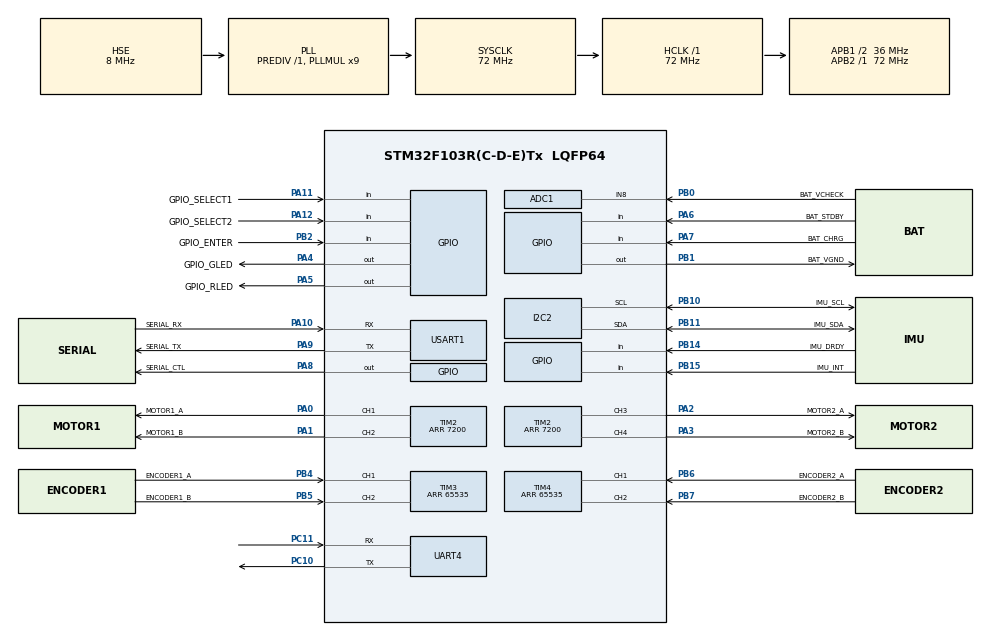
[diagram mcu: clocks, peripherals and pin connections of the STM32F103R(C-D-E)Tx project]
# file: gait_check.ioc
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ADC1.Channel-0\#ChannelRegularConversion=ADC_CHANNEL_8
ADC1.ContinuousConvMode=DISABLE
ADC1.DataAlign=ADC_DATAALIGN_LEFT
ADC1.DiscontinuousConvMode=DISABLE
ADC1.EnableAnalogWatchDog=false
ADC1.EnableRegularConversion=ENABLE
ADC1.ExternalTrigConvEdgeChoice=NONE
ADC1.InjNumberOfConversion=0
ADC1.NbrOfConversion=1
ADC1.NbrOfConversionFlag=1
ADC1.Rank-0\#ChannelRegularConversion=1
ADC1.SamplingTime-0\#ChannelRegularConversion=ADC_SAMPLETIME_239CYCLES_5
ADC1.ScanConvMode=ADC_SCAN_DISABLE
ADC1.master=1
Dma.MEMTOMEM.2.Direction=DMA_MEMORY_TO_MEMORY
Dma.MEMTOMEM.2.Instance=DMA1_Channel1
Dma.MEMTOMEM.2.MemDataAlignment=DMA_MDATAALIGN_BYTE
Dma.MEMTOMEM.2.MemInc=DMA_MINC_ENABLE
Dma.MEMTOMEM.2.Mode=DMA_NORMAL
Dma.MEMTOMEM.2.PeriphDataAlignment=DMA_PDATAALIGN_BYTE
Dma.MEMTOMEM.2.PeriphInc=DMA_PINC_ENABLE
Dma.MEMTOMEM.2.Priority=DMA_PRIORITY_LOW
Dma.Request0=USART1_RX
Dma.Request1=USART1_TX
Dma.Request2=MEMTOMEM
Dma.USART1_RX.0.Direction=DMA_PERIPH_TO_MEMORY
Dma.USART1_RX.0.Instance=DMA1_Channel5
Dma.USART1_RX.0.MemDataAlignment=DMA_MDATAALIGN_BYTE
Dma.USART1_RX.0.MemInc=DMA_MINC_ENABLE
Dma.USART1_RX.0.Mode=DMA_NORMAL
Dma.USART1_RX.0.PeriphDataAlignment=DMA_PDATAALIGN_BYTE
Dma.USART1_RX.0.PeriphInc=DMA_PINC_DISABLE
Dma.USART1_RX.0.Priority=DMA_PRIORITY_HIGH
Dma.USART1_TX.1.Direction=DMA_MEMORY_TO_PERIPH
Dma.USART1_TX.1.Instance=DMA1_Channel4
Dma.USART1_TX.1.MemDataAlignment=DMA_MDATAALIGN_BYTE
Dma.USART1_TX.1.MemInc=DMA_MINC_ENABLE
Dma.USART1_TX.1.Mode=DMA_NORMAL
Dma.USART1_TX.1.PeriphDataAlignment=DMA_PDATAALIGN_BYTE
Dma.USART1_TX.1.PeriphInc=DMA_PINC_DISABLE
Dma.USART1_TX.1.Priority=DMA_PRIORITY_MEDIUM
Mcu.Family=STM32F1
Mcu.Name=STM32F103R(C-D-E)Tx
Mcu.Package=LQFP64
NVIC.DMA1_Channel4_IRQn=true\:0\:0\:false\:false\:true
NVIC.DMA1_Channel5_IRQn=true\:0\:0\:false\:false\:true
NVIC.PriorityGroup=NVIC_PRIORITYGROUP_4
PA0-WKUP.GPIO_Label=MOTOR1_A
PA0-WKUP.Signal=S_TIM2_CH1_ETR
PA1.GPIO_Label=MOTOR1_B
PA1.Signal=S_TIM2_CH2
PA10.GPIO_Label=SERIAL_RX
PA10.Mode=Asynchronous
PA10.Signal=USART1_RX
PA11.GPIO_Label=GPIO_SELECT1
PA11.Signal=GPIO_Input
PA12.GPIO_Label=GPIO_SELECT2
PA12.Signal=GPIO_Input
PA13.Mode=JTAG_4_pins
PA13.Signal=SYS_JTMS-SWDIO
PA14.Mode=JTAG_4_pins
PA14.Signal=SYS_JTCK-SWCLK
PA15.Mode=JTAG_4_pins
PA15.Signal=SYS_JTDI
PA2.GPIO_Label=MOTOR2_A
PA2.Signal=S_TIM2_CH3
PA3.GPIO_Label=MOTOR2_B
PA3.Signal=S_TIM2_CH4
PA4.GPIO_Label=GPIO_GLED
PA4.PinState=GPIO_PIN_SET
PA4.Signal=GPIO_Output
PA5.GPIO_Label=GPIO_RLED
PA5.Signal=GPIO_Output
PA6.GPIO_Label=BAT_STDBY
PA6.Signal=GPIO_Input
PA7.GPIO_Label=BAT_CHRG
PA7.Signal=GPIO_Input
PA8.GPIO_Label=SERIAL_CTL
PA8.PinState=GPIO_PIN_SET
PA8.Signal=GPIO_Output
PA9.GPIO_Label=SERIAL_TX
PA9.Mode=Asynchronous
PA9.Signal=USART1_TX
PB0.GPIO_Label=BAT_VCHECK
PB0.Signal=ADCx_IN8
PB1.GPIO_Label=BAT_VGND
PB1.GPIO_ModeDefaultOutputPP=GPIO_MODE_OUTPUT_OD
PB1.Signal=GPIO_Output
PB10.GPIO_Label=IMU_SCL
PB10.Mode=I2C
PB10.Signal=I2C2_SCL
PB11.GPIO_Label=IMU_SDA
PB11.Mode=I2C
PB11.Signal=I2C2_SDA
PB14.GPIO_Label=IMU_DRDY
PB14.Signal=GPIO_Input
PB15.GPIO_Label=IMU_INT
PB15.Signal=GPIO_Input
PB2.GPIO_Label=GPIO_ENTER
PB2.Signal=GPIO_Input
PB3.Mode=JTAG_4_pins
PB3.Signal=SYS_JTDO-TRACESWO
PB4.GPIO_Label=ENCODER1_A
PB4.Signal=S_TIM3_CH1
PB5.GPIO_Label=ENCODER1_B
PB5.Signal=S_TIM3_CH2
PB6.GPIO_Label=ENCODER2_A
PB6.Signal=S_TIM4_CH1
PB7.GPIO_Label=ENCODER2_B
PB7.Signal=S_TIM4_CH2
PC10.Mode=Asynchronous
PC10.Signal=UART4_TX
PC11.Mode=Asynchronous
PC11.Signal=UART4_RX
PD0-OSC_IN.Mode=HSE-External-Oscillator
PD0-OSC_IN.Signal=RCC_OSC_IN
PD1-OSC_OUT.Mode=HSE-External-Oscillator
PD1-OSC_OUT.Signal=RCC_OSC_OUT
ProjectManager.HeapSize=0x200
ProjectManager.StackSize=0x1000
ProjectManager.TargetToolchain=MDK-ARM V5
RCC.ADCPresc=RCC_ADCPCLK2_DIV8
RCC.AHBFreq_Value=72000000
RCC.APB1CLKDivider=RCC_HCLK_DIV2
RCC.APB1Freq_Value=36000000
RCC.APB1TimFreq_Value=72000000
RCC.APB2Freq_Value=72000000
RCC.APB2TimFreq_Value=72000000
RCC.HCLKFreq_Value=72000000
RCC.HSIState=RCC_HSI_ON
RCC.PLLMUL=RCC_PLL_MUL9
RCC.PLLSourceVirtual=RCC_PLLSOURCE_HSE
RCC.SYSCLKFreq_VALUE=72000000
RCC.SYSCLKSource=RCC_SYSCLKSOURCE_PLLCLK
RCC.USBFreq_Value=72000000
SH.ADCx_IN8.0=ADC1_IN8,IN8
SH.S_TIM2_CH1_ETR.0=TIM2_CH1,PWM Generation1 CH1
SH.S_TIM2_CH2.0=TIM2_CH2,PWM Generation2 CH2
SH.S_TIM2_CH3.0=TIM2_CH3,PWM Generation3 CH3
SH.S_TIM2_CH4.0=TIM2_CH4,PWM Generation4 CH4
SH.S_TIM3_CH1.0=TIM3_CH1,Encoder_Interface
SH.S_TIM3_CH2.0=TIM3_CH2,Encoder_Interface
SH.S_TIM4_CH1.0=TIM4_CH1,Encoder_Interface
SH.S_TIM4_CH2.0=TIM4_CH2,Encoder_Interface
TIM2.Channel-PWM\ Generation2\ CH2=TIM_CHANNEL_2
TIM2.Channel-PWM\ Generation3\ CH3=TIM_CHANNEL_3
TIM2.Channel-PWM\ Generation4\ CH4=TIM_CHANNEL_4
TIM2.OCMode_PWM-PWM\ Generation1\ CH1=TIM_OCMODE_PWM1
TIM2.Period=7200
TIM3.EncoderMode=TIM_ENCODERMODE_TI12
TIM3.Period=65535
TIM4.EncoderMode=TIM_ENCODERMODE_TI12
TIM4.Period=65535
board=gait_check

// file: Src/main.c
/**
  ******************************************************************************
  * File Name          : main.c
  * Description        : Main program body
  ******************************************************************************
  *
  * COPYRIGHT(c) 2016 STMicroelectronics
  *
  * Redistribution and use in source and binary forms, with or without modification,
  * are permitted provided that the following conditions are met:
  *   1. Redistributions of source code must retain the above copyright notice,
  *      this list of conditions and the following disclaimer.
  *   2. Redistributions in binary form must reproduce the above copyright notice,
  *      this list of conditions and the following disclaimer in the documentation
  *      and/or other materials provided with the distribution.
  *   3. Neither the name of STMicroelectronics nor the names of its contributors
  *      may be used to endorse or promote products derived from this software
  *      without specific prior written permission.
  *
  * THIS SOFTWARE IS PROVIDED BY THE COPYRIGHT HOLDERS AND CONTRIBUTORS "AS IS"
  * AND ANY EXPRESS OR IMPLIED WARRANTIES, INCLUDING, BUT NOT LIMITED TO, THE
  * IMPLIED WARRANTIES OF MERCHANTABILITY AND FITNESS FOR A PARTICULAR PURPOSE ARE
  * DISCLAIMED. IN NO EVENT SHALL THE COPYRIGHT HOLDER OR CONTRIBUTORS BE LIABLE
  * FOR ANY DIRECT, INDIRECT, INCIDENTAL, SPECIAL, EXEMPLARY, OR CONSEQUENTIAL
  * DAMAGES (INCLUDING, BUT NOT LIMITED TO, PROCUREMENT OF SUBSTITUTE GOODS OR
  * SERVICES; LOSS OF USE, DATA, OR PROFITS; OR BUSINESS INTERRUPTION) HOWEVER
  * CAUSED AND ON ANY THEORY OF LIABILITY, WHETHER IN CONTRACT, STRICT LIABILITY,
  * OR TORT (INCLUDING NEGLIGENCE OR OTHERWISE) ARISING IN ANY WAY OUT OF THE USE
  * OF THIS SOFTWARE, EVEN IF ADVISED OF THE POSSIBILITY OF SUCH DAMAGE.
  *
  ******************************************************************************
  */
#include "stm32f1xx_hal.h"

/* USER CODE BEGIN Includes */
#include <stdbool.h>
#include "SEGGER_RTT.h"
#include "string.h"
#include "bmx055.h"
#include "esp8266.h"
#include "Motor.h"
#include "Encoder.h"
#include "control.h"
#include "my_esp8266.h"
#include "my_websocket.h"
#include "bmx055.h"
#include "attitude.h"
#include "dr.h"
#include "main.h"

#include "signal.h"
/* USER CODE END Includes */

ADC_HandleTypeDef hadc1;

I2C_HandleTypeDef hi2c2;

TIM_HandleTypeDef htim2;
TIM_HandleTypeDef htim3;
TIM_HandleTypeDef htim4;

UART_HandleTypeDef huart4;
UART_HandleTypeDef huart1;
DMA_HandleTypeDef hdma_usart1_rx;
DMA_HandleTypeDef hdma_usart1_tx;

DMA_HandleTypeDef hdma_memtomem_dma1_channel1;

/* USER CODE BEGIN PV */
/* Private variables ---------------------------------------------------------*/

uint32_t byteswritten;                /* File write counts */
uint32_t bytesread;                   /* File read counts */
char wtext[1024*10]; /* File write buffer */
uint8_t rtext[100];                     /* File read buffers */
char filename[] = "STM.txt";

bmx055_t bmx055;
ESP8266_t ESP8266;

/* USER CODE END PV */

void SystemClock_Config(void);
void Error_Handler(void);
static void MX_GPIO_Init(void);
static void MX_DMA_Init(void);
static void MX_ADC1_Init(void);
static void MX_I2C2_Init(void);
static void MX_TIM2_Init(void);
static void MX_TIM3_Init(void);
static void MX_TIM4_Init(void);
static void MX_USART1_UART_Init(void);
static void MX_UART4_Init(void);

void HAL_TIM_MspPostInit(TIM_HandleTypeDef *htim);

/* USER CODE BEGIN PFP */
/* Private function prototypes -----------------------------------------------*/

/* USER CODE END PFP */

/* USER CODE BEGIN 0 */
void MY_I2C_BusyWorkround(void) {
    GPIO_InitTypeDef GPIO_InitStruct;
    if (__HAL_I2C_GET_FLAG(&hi2c2, I2C_FLAG_BUSY) != RESET) {
        // 1. Disable the I2C peripheral by clearing the PE bit in I2Cx_CR1 register
        __HAL_I2C_DISABLE(&hi2c2);
        // 2. Configure the SCL and SDA I/Os as General Purpose Output Open-Drain, High level (Write 1 to GPIOx_ODR).
        HAL_GPIO_WritePin(IMU_SCL_GPIO_Port, IMU_SCL_Pin|IMU_SDA_Pin, GPIO_PIN_SET);
        GPIO_InitStruct.Pin = IMU_SCL_Pin|IMU_SDA_Pin;
        GPIO_InitStruct.Mode = GPIO_MODE_OUTPUT_OD;
        GPIO_InitStruct.Speed = GPIO_SPEED_FREQ_LOW;
        HAL_GPIO_Init(IMU_SCL_GPIO_Port, &GPIO_InitStruct);
        HAL_Delay(1);
        // 3. Check SCL and SDA High level in GPIOx_IDR.
        if (HAL_GPIO_ReadPin(IMU_SCL_GPIO_Port, IMU_SCL_Pin) == GPIO_PIN_RESET
            || HAL_GPIO_ReadPin(IMU_SDA_GPIO_Port, IMU_SDA_Pin) == GPIO_PIN_RESET) {
            Error_Handler();
        }
        // 4. Configure the SDA I/O as General Purpose Output Open-Drain, Low level (Write 0 to GPIOx_ODR).
        HAL_GPIO_WritePin(IMU_SDA_GPIO_Port, IMU_SDA_Pin, GPIO_PIN_RESET);
        HAL_Delay(1);
        // 5. Check SDA Low level in GPIOx_IDR.
        if (HAL_GPIO_ReadPin(IMU_SDA_GPIO_Port, IMU_SDA_Pin) != GPIO_PIN_RESET) {
            Error_Handler();
        }
        // 6. Configure the SCL I/O as General Purpose Output Open-Drain, Low level (Write 0 to GPIOx_ODR).
        HAL_GPIO_WritePin(IMU_SCL_GPIO_Port, IMU_SCL_Pin, GPIO_PIN_RESET);
        HAL_Delay(1);
        // 7. Check SCL Low level in GPIOx_IDR.
        if (HAL_GPIO_ReadPin(IMU_SCL_GPIO_Port, IMU_SCL_Pin) != GPIO_PIN_RESET) {
            Error_Handler();
        }
        // 8. Configure the SCL I/O as General Purpose Output Open-Drain, High level (Write 1 to GPIOx_ODR).
        HAL_GPIO_WritePin(IMU_SCL_GPIO_Port, IMU_SCL_Pin, GPIO_PIN_SET);
        HAL_Delay(1);
        // 9. Check SCL High level in GPIOx_IDR.
        if (HAL_GPIO_ReadPin(IMU_SCL_GPIO_Port, IMU_SCL_Pin) != GPIO_PIN_SET) {
            Error_Handler();
        }
        // 10. Configure the SDA I/O as General Purpose Output Open-Drain , High level (Write 1 to GPIOx_ODR).
        HAL_GPIO_WritePin(IMU_SDA_GPIO_Port, IMU_SDA_Pin, GPIO_PIN_SET);
        HAL_Delay(1);
        // 11. Check SDA High level in GPIOx_IDR.
        if (HAL_GPIO_ReadPin(IMU_SDA_GPIO_Port, IMU_SDA_Pin) != GPIO_PIN_SET) {
            Error_Handler();
        }
        // 12. Configure the SCL and SDA I/Os as Alternate function Open-Drain.
        GPIO_InitStruct.Pin = IMU_SCL_Pin|IMU_SDA_Pin;
        GPIO_InitStruct.Mode = GPIO_MODE_AF_OD;
        GPIO_InitStruct.Speed = GPIO_SPEED_FREQ_HIGH;
        HAL_GPIO_Init(IMU_SCL_GPIO_Port, &GPIO_InitStruct);
        // 13. Set SWRST bit in I2Cx_CR1 register.
        SET_BIT(hi2c2.Instance->CR1, I2C_CR1_SWRST);
        // 14. Clear SWRST bit in I2Cx_CR1 register.
        CLEAR_BIT(hi2c2.Instance->CR1, I2C_CR1_SWRST);
        // 15. Enable the I2C peripheral by setting the PE bit in I2Cx_CR1 register
        __HAL_I2C_ENABLE(&hi2c2);
        SEGGER_RTT_printf(0, "I2C BUSY WORKAROUND Finish\r\n");
    } else {
        SEGGER_RTT_printf(0, "I2C BUSY WORKAROUND not run\r\n");
    }
}

// 基于Systick获取从开机到现在的精确时间, 单位: 秒
double MY_GetClock(void) {
#include "core_cm3.h"
    static int32_t last_val = 0;
    static uint32_t last_ticks = 0;
    static double last_ret = 0;

    uint32_t ticks = HAL_GetTick();
    int32_t val = SysTick->VAL;
    double ret;

    if (last_ticks == ticks && val > last_val) {
        ticks++;
    } else if (last_ticks > ticks) {
        ticks++;
    }
    ret = ticks * 0.001 + (SysTick->LOAD - val) / 72000000.0;
    last_val = val;
    last_ticks = ticks;
    last_ret = ret;

    return ret;
}

static char databuf[2000];
static char *pdatabuf = databuf;
/* USER CODE END 0 */

int main(void)
{

  /* USER CODE BEGIN 1 */
    SEGGER_RTT_printf(0, "\r\n\r\n==============================System Start==============================\r\n");
  /* USER CODE END 1 */

  /* MCU Configuration----------------------------------------------------------*/

  /* Reset of all peripherals, Initializes the Flash interface and the Systick. */
  HAL_Init();

  /* Configure the system clock */
  SystemClock_Config();

  /* Initialize all configured peripherals */
  MX_GPIO_Init();
  MX_DMA_Init();
  MX_ADC1_Init();
  MX_I2C2_Init();
  MX_TIM2_Init();
  MX_TIM3_Init();
  MX_TIM4_Init();
  MX_USART1_UART_Init();
  MX_UART4_Init();

  /* USER CODE BEGIN 2 */
    // 点亮红色LED
    HAL_GPIO_WritePin(GPIO_GLED_GPIO_Port, GPIO_GLED_Pin, GPIO_PIN_RESET);
    // 启动电机PWM输出
    Motor_Init(&htim2, &htim2);

    SEGGER_RTT_WriteString(0, "BMX055 init...");
    while (bmx055_init(&bmx055) != 0);
    SEGGER_RTT_WriteString(0, "OK\r\n");

    MY_ESP8266_Init(&ESP8266, "HC5761", "shuixiang", 115200);
    MY_WSServer_Init(&ESP8266);
    Encoder_Init(&htim3, &htim4);
    Control_Init();
    Attitude_Init();
    DR_Init();

//    SEGGER_RTT_WriteString(0, "Connecting to PC...");
//    ESP8266_Connection_t* conn;
//    if (ESP8266_StartClientConnectionTCP_Blocking(&ESP8266, &conn, "default", "192.168.123.186", 23, NULL) == ESP_OK) {
//        SEGGER_RTT_WriteString(0, "OK\r\n");
//    } else {
//        SEGGER_RTT_WriteString(0, "FAIL\r\n");
//    }

  /* USER CODE END 2 */

  /* Infinite loop */
  /* USER CODE BEGIN WHILE */
    char text[100];
    bool needSendTextFrame = false;
    bool output_data = false;
    uint32_t per1000ms = HAL_GetTick();
    uint32_t per250ms = HAL_GetTick();
    uint32_t per100ms = HAL_GetTick();
    uint32_t per50ms = HAL_GetTick();
    uint32_t per10ms = HAL_GetTick();
    uint32_t lastSent = HAL_GetTick();
    uint32_t countMain = 0;
    uint32_t countSend = 0;
    uint32_t countFrame = 0;
    double clock = 0;
    double lastclock = 0;
    while (1) {
  /* USER CODE END WHILE */

  /* USER CODE BEGIN 3 */
        ESP8266_Update(&ESP8266);
        MY_WSServer_OnMain();
        if (HAL_GetTick() >= per1000ms) {
            per1000ms += 1000;
            sprintf(text, "Sent: %dHz Frame: %dHz Main: %dHz\r\n", countSend, countFrame, countMain);
            SEGGER_RTT_WriteString(0, text);
            if (MY_WSServer_SendFrame(WS_TEXT_FRAME, (uint8_t*)text, strlen(text)) == 0) {
                needSendTextFrame = false;
            } else {
                needSendTextFrame = true;
            }
            countMain = 0;
            countSend = 0;
            countFrame = 0;
        }
        if (HAL_GetTick() >= per250ms) {
            per250ms += 250;
            HAL_GPIO_TogglePin(GPIO_GLED_GPIO_Port, GPIO_GLED_Pin);
//            char text[100];
//            sprintf(text, "L=%.2f(%.2f) R=%.2f(%.2f)\r\n", Encoder_SpeedLeft, Encoder_SumLeft,Encoder_SpeedRight,  Encoder_SumRight);
//            SEGGER_RTT_WriteString(0, text);
//            MY_WSServer_SendFrame(WS_TEXT_FRAME, (uint8_t*)text, strlen(text));
        }
        if (HAL_GetTick() >= per100ms) {
            per100ms += 100;
            output_data = true;
        }
        if (HAL_GetTick() >= per50ms) {
            per50ms += 50;
            BMX055_ReadMag(&bmx055);
//            sprintf(text, "acc: %.3f %.3f %.3f, gyro: %.1f %.1f %.1f, mag: %.0f %.0f %.0f\r\n",
//                    bmx055.ax, bmx055.ay, bmx055.az,
//                    bmx055.gx, bmx055.gy, bmx055.gz,
//                    bmx055.mx, bmx055.my, bmx055.mz);
//            SEGGER_RTT_WriteString(0, text);
        }
        if (HAL_GetTick() >= per10ms) {
            per10ms += 10;
            Encoder_Measure();
            Control_Main();
            DR_Update();
            BMX055_ReadAccGyro(&bmx055);
            Attitude_UpdateGyro();
            Attitude_UpdateAcc();
        }
        if (output_data && pdatabuf - databuf + 40 * 4 <= 2000) {
            output_data = false;
            countSend++;
            int32_t check_sum = 0;
            float tmp;
#define pushfloat(dat)    {tmp = (float)(dat); *(float*)pdatabuf = tmp; pdatabuf += 4; check_sum ^= *((int32_t*)&tmp);}
            pushfloat(MY_GetClock());
            // 角速度, 1-3
            pushfloat(bmx055.gx);
            pushfloat(bmx055.gy);
            pushfloat(bmx055.gz);
            // 重力, 4-6
            pushfloat(bmx055.ax);
            pushfloat(bmx055.ay);
            pushfloat(bmx055.az);
            // 磁力, 7-9
            pushfloat(bmx055.mx);
            pushfloat(bmx055.my);
            pushfloat(bmx055.mz);
            // 轮速, 10-12
            pushfloat(Encoder_SpeedLeft);
            pushfloat(Encoder_SpeedRight);
            pushfloat(0);
            // 欧拉角, 13-15
            pushfloat(Attitude_EulerAngle.Roll / PI * 180);
            pushfloat(Attitude_EulerAngle.Pitch / PI * 180);
            pushfloat(Attitude_EulerAngle.Yaw / PI * 180);
            // 电机占空比, 34-35
            pushfloat(Motor_GetDutyLeft());
            pushfloat(Motor_GetDutyRight());
            // 根据左右轮积分得到的航向角(°), 36
            pushfloat(0);
//            pushfloat(DR_EncoderYaw);
            // 航位推算数据
            // 芯片净加速度(载体坐标系), 22-24
            pushfloat(0);
            pushfloat(0);
            pushfloat(0);
//            pushfloat(DR_AccChip.X);
//            pushfloat(DR_AccChip.Y);
//            pushfloat(DR_AccChip.Z);
            // 转换到轴中点的加速度(载体坐标系), 31-33
            pushfloat(0);
            pushfloat(0);
            pushfloat(0);
//            pushfloat(DR_AccCar.X);
//            pushfloat(DR_AccCar.Y);
//            pushfloat(DR_AccCar.Z);
            // 方法一估计速度, 19-21
            pushfloat(0);
            pushfloat(0);
            pushfloat(0);
//            pushfloat(DR_SpeedCar.X);
//            pushfloat(DR_SpeedCar.Y);
//            pushfloat(DR_SpeedCar.Z);
            // 方法一估计位置, 25-27
            pushfloat(0);
            pushfloat(0);
            pushfloat(0);
//            pushfloat(DR_Position.X);
//            pushfloat(-DR_Position.Y);
//            pushfloat(DR_Position.Z);
            // 编码器+航向角的推算位置, 16-18
//            pushfloat(0);
//            pushfloat(0);
//            pushfloat(0);
            pushfloat(DR_EncoderYawPosition.X);
            pushfloat(DR_EncoderYawPosition.Y);
            pushfloat(DR_EncoderYawPosition.Z);
            // 编码器的推算位置, 28-30
            pushfloat(0);
            pushfloat(0);
            pushfloat(0);
//            pushfloat(DR_EncoderPosition.X);
//            pushfloat(-DR_EncoderPosition.Y);
//            pushfloat(DR_EncoderPosition.Z);
            // 运动状态
            pushfloat(0);
            pushfloat(0);
//            pushfloat(DR_StandStill ? 1.0f : 0.0f);
//            pushfloat(DR_Tilt ? 1.0f : 0.0f);
//            pushfloat(DR_Skid ? 1.0f : 0.0f);
            *(int32_t*)pdatabuf = check_sum; pdatabuf += 4;
        }
        if (needSendTextFrame) {
            if (MY_WSServer_SendFrame(WS_TEXT_FRAME, (uint8_t*)text, strlen(text)) == 0) {
                needSendTextFrame = false;
            } else {
                needSendTextFrame = true;
            }
        } else if (pdatabuf > databuf) {
            if (MY_WSServer_SendFrame(WS_BINARY_FRAME, (uint8_t *)databuf, pdatabuf - databuf) == 0) {
                countFrame++;
                pdatabuf = databuf;
                lastSent = HAL_GetTick() + 10;
            }
        }
        countMain++;
        // 检查定时器
//        clock = MY_GetClock();
//        SEGGER_RTT_printf(0, "%d\r\n", (int32_t)((clock - lastclock) * 1000000));
//        lastclock = clock;
        // 检查电池电压
//        HAL_GPIO_WritePin(BAT_VGND_GPIO_Port, BAT_VGND_Pin, GPIO_PIN_RESET);
//        if (HAL_ADC_Start(&hadc1) == HAL_OK) {
//            if (HAL_ADC_PollForConversion(&hadc1, 100) == HAL_OK) {
//                float voltage = HAL_ADC_GetValue(&hadc1) / 65536.0f * 3.3 * 2.02 - 0.01;
//                char tmp[20];
//                sprintf(tmp, "battery voltage: %.3f\r\n", voltage);
//                SEGGER_RTT_WriteString(0, tmp);
//            }
//            HAL_ADC_Stop(&hadc1);
//        }
//        HAL_GPIO_WritePin(BAT_VGND_GPIO_Port, BAT_VGND_Pin, GPIO_PIN_SET);
    }
  /* USER CODE END 3 */

}

/** System Clock Configuration
*/
void SystemClock_Config(void)
{

  RCC_OscInitTypeDef RCC_OscInitStruct;
  RCC_ClkInitTypeDef RCC_ClkInitStruct;
  RCC_PeriphCLKInitTypeDef PeriphClkInit;

  RCC_OscInitStruct.OscillatorType = RCC_OSCILLATORTYPE_HSE;
  RCC_OscInitStruct.HSEState = RCC_HSE_ON;
  RCC_OscInitStruct.HSEPredivValue = RCC_HSE_PREDIV_DIV1;
  RCC_OscInitStruct.PLL.PLLState = RCC_PLL_ON;
  RCC_OscInitStruct.PLL.PLLSource = RCC_PLLSOURCE_HSE;
  RCC_OscInitStruct.PLL.PLLMUL = RCC_PLL_MUL9;
  if (HAL_RCC_OscConfig(&RCC_OscInitStruct) != HAL_OK)
  {
    Error_Handler();
  }

  RCC_ClkInitStruct.ClockType = RCC_CLOCKTYPE_HCLK|RCC_CLOCKTYPE_SYSCLK
                              |RCC_CLOCKTYPE_PCLK1|RCC_CLOCKTYPE_PCLK2;
  RCC_ClkInitStruct.SYSCLKSource = RCC_SYSCLKSOURCE_PLLCLK;
  RCC_ClkInitStruct.AHBCLKDivider = RCC_SYSCLK_DIV1;
  RCC_ClkInitStruct.APB1CLKDivider = RCC_HCLK_DIV2;
  RCC_ClkInitStruct.APB2CLKDivider = RCC_HCLK_DIV1;
  if (HAL_RCC_ClockConfig(&RCC_ClkInitStruct, FLASH_LATENCY_2) != HAL_OK)
  {
    Error_Handler();
  }

  PeriphClkInit.PeriphClockSelection = RCC_PERIPHCLK_ADC;
  PeriphClkInit.AdcClockSelection = RCC_ADCPCLK2_DIV8;
  if (HAL_RCCEx_PeriphCLKConfig(&PeriphClkInit) != HAL_OK)
  {
    Error_Handler();
  }

  HAL_SYSTICK_Config(HAL_RCC_GetHCLKFreq()/1000);

  HAL_SYSTICK_CLKSourceConfig(SYSTICK_CLKSOURCE_HCLK);

  /* SysTick_IRQn interrupt configuration */
  HAL_NVIC_SetPriority(SysTick_IRQn, 0, 0);
}

/* ADC1 init function */
static void MX_ADC1_Init(void)
{

  ADC_ChannelConfTypeDef sConfig;

    /**Common config
    */
  hadc1.Instance = ADC1;
  hadc1.Init.ScanConvMode = ADC_SCAN_DISABLE;
  hadc1.Init.ContinuousConvMode = DISABLE;
  hadc1.Init.DiscontinuousConvMode = DISABLE;
  hadc1.Init.ExternalTrigConv = ADC_SOFTWARE_START;
  hadc1.Init.DataAlign = ADC_DATAALIGN_LEFT;
  hadc1.Init.NbrOfConversion = 1;
  if (HAL_ADC_Init(&hadc1) != HAL_OK)
  {
    Error_Handler();
  }

    /**Configure Regular Channel
    */
  sConfig.Channel = ADC_CHANNEL_8;
  sConfig.Rank = 1;
  sConfig.SamplingTime = ADC_SAMPLETIME_239CYCLES_5;
  if (HAL_ADC_ConfigChannel(&hadc1, &sConfig) != HAL_OK)
  {
    Error_Handler();
  }

}

/* I2C2 init function */
static void MX_I2C2_Init(void)
{

  hi2c2.Instance = I2C2;
  hi2c2.Init.ClockSpeed = 100000;
  hi2c2.Init.DutyCycle = I2C_DUTYCYCLE_2;
  hi2c2.Init.OwnAddress1 = 0;
  hi2c2.Init.AddressingMode = I2C_ADDRESSINGMODE_7BIT;
  hi2c2.Init.DualAddressMode = I2C_DUALADDRESS_DISABLE;
  hi2c2.Init.OwnAddress2 = 0;
  hi2c2.Init.GeneralCallMode = I2C_GENERALCALL_DISABLE;
  hi2c2.Init.NoStretchMode = I2C_NOSTRETCH_DISABLE;
  if (HAL_I2C_Init(&hi2c2) != HAL_OK)
  {
    Error_Handler();
  }

}

/* TIM2 init function */
static void MX_TIM2_Init(void)
{

  TIM_MasterConfigTypeDef sMasterConfig;
  TIM_OC_InitTypeDef sConfigOC;

  htim2.Instance = TIM2;
  htim2.Init.Prescaler = 0;
  htim2.Init.CounterMode = TIM_COUNTERMODE_UP;
  htim2.Init.Period = 7200;
  htim2.Init.ClockDivision = TIM_CLOCKDIVISION_DIV1;
  if (HAL_TIM_PWM_Init(&htim2) != HAL_OK)
  {
    Error_Handler();
  }

  sMasterConfig.MasterOutputTrigger = TIM_TRGO_RESET;
  sMasterConfig.MasterSlaveMode = TIM_MASTERSLAVEMODE_DISABLE;
  if (HAL_TIMEx_MasterConfigSynchronization(&htim2, &sMasterConfig) != HAL_OK)
  {
    Error_Handler();
  }

  sConfigOC.OCMode = TIM_OCMODE_PWM1;
  sConfigOC.Pulse = 0;
  sConfigOC.OCPolarity = TIM_OCPOLARITY_HIGH;
  sConfigOC.OCFastMode = TIM_OCFAST_DISABLE;
  if (HAL_TIM_PWM_ConfigChannel(&htim2, &sConfigOC, TIM_CHANNEL_1) != HAL_OK)
  {
    Error_Handler();
  }

  if (HAL_TIM_PWM_ConfigChannel(&htim2, &sConfigOC, TIM_CHANNEL_2) != HAL_OK)
  {
    Error_Handler();
  }

  if (HAL_TIM_PWM_ConfigChannel(&htim2, &sConfigOC, TIM_CHANNEL_3) != HAL_OK)
  {
    Error_Handler();
  }

  if (HAL_TIM_PWM_ConfigChannel(&htim2, &sConfigOC, TIM_CHANNEL_4) != HAL_OK)
  {
    Error_Handler();
  }

  HAL_TIM_MspPostInit(&htim2);

}

/* TIM3 init function */
static void MX_TIM3_Init(void)
{

  TIM_Encoder_InitTypeDef sConfig;
  TIM_MasterConfigTypeDef sMasterConfig;

  htim3.Instance = TIM3;
  htim3.Init.Prescaler = 0;
  htim3.Init.CounterMode = TIM_COUNTERMODE_UP;
  htim3.Init.Period = 65535;
  htim3.Init.ClockDivision = TIM_CLOCKDIVISION_DIV1;
  sConfig.EncoderMode = TIM_ENCODERMODE_TI12;
  sConfig.IC1Polarity = TIM_ICPOLARITY_RISING;
  sConfig.IC1Selection = TIM_ICSELECTION_DIRECTTI;
  sConfig.IC1Prescaler = TIM_ICPSC_DIV1;
  sConfig.IC1Filter = 0;
  sConfig.IC2Polarity = TIM_ICPOLARITY_RISING;
  sConfig.IC2Selection = TIM_ICSELECTION_DIRECTTI;
  sConfig.IC2Prescaler = TIM_ICPSC_DIV1;
  sConfig.IC2Filter = 0;
  if (HAL_TIM_Encoder_Init(&htim3, &sConfig) != HAL_OK)
  {
    Error_Handler();
  }

  sMasterConfig.MasterOutputTrigger = TIM_TRGO_RESET;
  sMasterConfig.MasterSlaveMode = TIM_MASTERSLAVEMODE_DISABLE;
  if (HAL_TIMEx_MasterConfigSynchronization(&htim3, &sMasterConfig) != HAL_OK)
  {
    Error_Handler();
  }

}

/* TIM4 init function */
static void MX_TIM4_Init(void)
{

  TIM_Encoder_InitTypeDef sConfig;
  TIM_MasterConfigTypeDef sMasterConfig;

  htim4.Instance = TIM4;
  htim4.Init.Prescaler = 0;
  htim4.Init.CounterMode = TIM_COUNTERMODE_UP;
  htim4.Init.Period = 65535;
  htim4.Init.ClockDivision = TIM_CLOCKDIVISION_DIV1;
  sConfig.EncoderMode = TIM_ENCODERMODE_TI12;
  sConfig.IC1Polarity = TIM_ICPOLARITY_RISING;
  sConfig.IC1Selection = TIM_ICSELECTION_DIRECTTI;
  sConfig.IC1Prescaler = TIM_ICPSC_DIV1;
  sConfig.IC1Filter = 0;
  sConfig.IC2Polarity = TIM_ICPOLARITY_RISING;
  sConfig.IC2Selection = TIM_ICSELECTION_DIRECTTI;
  sConfig.IC2Prescaler = TIM_ICPSC_DIV1;
  sConfig.IC2Filter = 0;
  if (HAL_TIM_Encoder_Init(&htim4, &sConfig) != HAL_OK)
  {
    Error_Handler();
  }

  sMasterConfig.MasterOutputTrigger = TIM_TRGO_RESET;
  sMasterConfig.MasterSlaveMode = TIM_MASTERSLAVEMODE_DISABLE;
  if (HAL_TIMEx_MasterConfigSynchronization(&htim4, &sMasterConfig) != HAL_OK)
  {
    Error_Handler();
  }

}

/* UART4 init function */
static void MX_UART4_Init(void)
{

  huart4.Instance = UART4;
  huart4.Init.BaudRate = 115200;
  huart4.Init.WordLength = UART_WORDLENGTH_8B;
  huart4.Init.StopBits = UART_STOPBITS_1;
  huart4.Init.Parity = UART_PARITY_NONE;
  huart4.Init.Mode = UART_MODE_TX_RX;
  huart4.Init.HwFlowCtl = UART_HWCONTROL_NONE;
  huart4.Init.OverSampling = UART_OVERSAMPLING_16;
  if (HAL_UART_Init(&huart4) != HAL_OK)
  {
    Error_Handler();
  }

}

/* USART1 init function */
static void MX_USART1_UART_Init(void)
{

  huart1.Instance = USART1;
  huart1.Init.BaudRate = 115200;
  huart1.Init.WordLength = UART_WORDLENGTH_8B;
  huart1.Init.StopBits = UART_STOPBITS_1;
  huart1.Init.Parity = UART_PARITY_NONE;
  huart1.Init.Mode = UART_MODE_TX_RX;
  huart1.Init.HwFlowCtl = UART_HWCONTROL_NONE;
  huart1.Init.OverSampling = UART_OVERSAMPLING_16;
  if (HAL_UART_Init(&huart1) != HAL_OK)
  {
    Error_Handler();
  }

}

static void MX_DMA_Init(void)
{
  /* DMA controller clock enable */
  __HAL_RCC_DMA1_CLK_ENABLE();

  /* Configure DMA request hdma_memtomem_dma1_channel1 on DMA1_Channel1 */
  hdma_memtomem_dma1_channel1.Instance = DMA1_Channel1;
  hdma_memtomem_dma1_channel1.Init.Direction = DMA_MEMORY_TO_MEMORY;
  hdma_memtomem_dma1_channel1.Init.PeriphInc = DMA_PINC_ENABLE;
  hdma_memtomem_dma1_channel1.Init.MemInc = DMA_MINC_ENABLE;
  hdma_memtomem_dma1_channel1.Init.PeriphDataAlignment = DMA_PDATAALIGN_BYTE;
  hdma_memtomem_dma1_channel1.Init.MemDataAlignment = DMA_MDATAALIGN_BYTE;
  hdma_memtomem_dma1_channel1.Init.Mode = DMA_NORMAL;
  hdma_memtomem_dma1_channel1.Init.Priority = DMA_PRIORITY_LOW;
  if (HAL_DMA_Init(&hdma_memtomem_dma1_channel1) != HAL_OK)
  {
    Error_Handler();
  }

  /* DMA interrupt init */
  /* DMA1_Channel4_IRQn interrupt configuration */
  HAL_NVIC_SetPriority(DMA1_Channel4_IRQn, 0, 0);
  HAL_NVIC_EnableIRQ(DMA1_Channel4_IRQn);
  /* DMA1_Channel5_IRQn interrupt configuration */
  HAL_NVIC_SetPriority(DMA1_Channel5_IRQn, 0, 0);
  HAL_NVIC_EnableIRQ(DMA1_Channel5_IRQn);

}

/** Configure pins as
        * Analog
        * Input
        * Output
        * EVENT_OUT
        * EXTI
*/
static void MX_GPIO_Init(void)
{

  GPIO_InitTypeDef GPIO_InitStruct;

  /* GPIO Ports Clock Enable */
  __HAL_RCC_GPIOD_CLK_ENABLE();
  __HAL_RCC_GPIOA_CLK_ENABLE();
  __HAL_RCC_GPIOB_CLK_ENABLE();
  __HAL_RCC_GPIOC_CLK_ENABLE();

  /*Configure GPIO pin Output Level */
  HAL_GPIO_WritePin(GPIOA, GPIO_GLED_Pin|SERIAL_CTL_Pin, GPIO_PIN_SET);

  /*Configure GPIO pin Output Level */
  HAL_GPIO_WritePin(GPIO_RLED_GPIO_Port, GPIO_RLED_Pin, GPIO_PIN_RESET);

  /*Configure GPIO pin Output Level */
  HAL_GPIO_WritePin(BAT_VGND_GPIO_Port, BAT_VGND_Pin, GPIO_PIN_RESET);

  /*Configure GPIO pins : GPIO_GLED_Pin GPIO_RLED_Pin SERIAL_CTL_Pin */
  GPIO_InitStruct.Pin = GPIO_GLED_Pin|GPIO_RLED_Pin|SERIAL_CTL_Pin;
  GPIO_InitStruct.Mode = GPIO_MODE_OUTPUT_PP;
  GPIO_InitStruct.Speed = GPIO_SPEED_FREQ_LOW;
  HAL_GPIO_Init(GPIOA, &GPIO_InitStruct);

  /*Configure GPIO pins : BAT_STDBY_Pin BAT_CHRG_Pin GPIO_SELECT1_Pin GPIO_SELECT2_Pin */
  GPIO_InitStruct.Pin = BAT_STDBY_Pin|BAT_CHRG_Pin|GPIO_SELECT1_Pin|GPIO_SELECT2_Pin;
  GPIO_InitStruct.Mode = GPIO_MODE_INPUT;
  GPIO_InitStruct.Pull = GPIO_NOPULL;
  HAL_GPIO_Init(GPIOA, &GPIO_InitStruct);

  /*Configure GPIO pin : BAT_VGND_Pin */
  GPIO_InitStruct.Pin = BAT_VGND_Pin;
  GPIO_InitStruct.Mode = GPIO_MODE_OUTPUT_OD;
  GPIO_InitStruct.Speed = GPIO_SPEED_FREQ_LOW;
  HAL_GPIO_Init(BAT_VGND_GPIO_Port, &GPIO_InitStruct);

  /*Configure GPIO pins : GPIO_ENTER_Pin IMU_DRDY_Pin IMU_INT_Pin */
  GPIO_InitStruct.Pin = GPIO_ENTER_Pin|IMU_DRDY_Pin|IMU_INT_Pin;
  GPIO_InitStruct.Mode = GPIO_MODE_INPUT;
  GPIO_InitStruct.Pull = GPIO_NOPULL;
  HAL_GPIO_Init(GPIOB, &GPIO_InitStruct);

}

void Error_Handler(void)
{
  while(1)
  {
  }
}

#ifdef USE_FULL_ASSERT

/**
   * @brief Reports the name of the source file and the source line number
   * where the assert_param error has occurred.
   * @param file: pointer to the source file name
   * @param line: assert_param error line source number
   * @retval None
   */
void assert_failed(uint8_t* file, uint32_t line)
{
  /* USER CODE BEGIN 6 */
  /* User can add his own implementation to report the file name and line number,
    ex: SEGGER_RTT_printf(0, "Wrong parameters value: file %s on line %d\r\n", file, line) */
    SEGGER_RTT_printf(0, "Wrong parameters value: file %s on line %d\r\n", file, line);
    Error_Handler();
  /* USER CODE END 6 */

}

#endif

/************************ (C) COPYRIGHT STMicroelectronics *****END OF FILE****/
